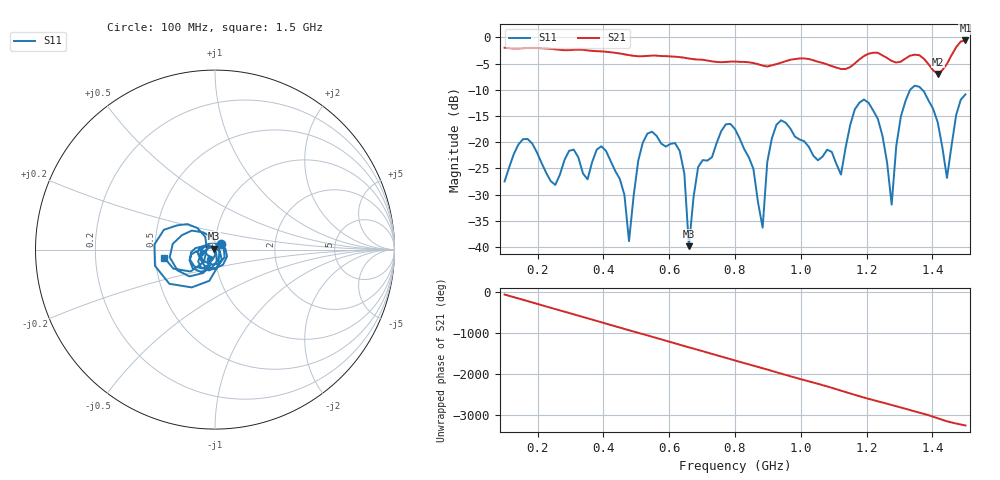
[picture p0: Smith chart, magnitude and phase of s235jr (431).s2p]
! NanoVNA-App
! Date: 2025-09-25 15:07:31
! Start: 100MHz Stop: 1,5GHz Points: 101
! S-Parameter data: F S11 S21 S12 S22
# Hz S RI R 50
!  Frequency  S11_Real  S11_Imag  S21_Real  S21_Imag  S12_Real  S12_Imag  S22_Real  S22_Imag
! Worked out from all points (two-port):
!   101 points, 100 MHz to 1.5 GHz, reference 50 ohm
!   highest |S21| = -0.57 dB at 1.5 GHz (marker M1); lowest = -6.9 dB at 1.416 GHz (marker M2)
!   |S21| within 3 dB of the highest: start of sweep to 503 MHz; 521.8 MHz to 592 MHz (70.13 MHz wide, 12.6 % of centre) (the widest 2 of 5)
!   lowest |S11| = -39.8 dB at 660 MHz (marker M3), VSWR 1.02, Z = 49.2 + j0.594 ohm
!   |S11| at or under -10 dB: start of sweep to 1.332 GHz; 1.369 GHz to end of sweep
!   S12 and S22 are empty: the file has one direction only
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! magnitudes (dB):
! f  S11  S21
! 100 MHz  -27.5  -2.0
! 156 MHz  -19.4  -2.0
! 338 MHz  -25.9  -2.4
! 408 MHz  -21.6  -2.7
! 478 MHz  -38.9  -3.4
! 520 MHz  -20.0  -3.6
! 576 MHz  -20.3  -3.5
! 632 MHz  -21.7  -3.7
! 660 MHz  -39.8  -4.0
! 688 MHz  -24.7  -4.2
! 800 MHz  -17.5  -4.6
! 884 MHz  -36.3  -5.4
! 926 MHz  -16.6  -5.1
! 1.038 GHz  -22.6  -4.3
! 1.122 GHz  -26.2  -6.0
! 1.192 GHz  -11.8  -3.5
! 1.248 GHz  -18.7  -3.4
! 1.276 GHz  -31.9  -4.5
! 1.332 GHz  -10.0  -3.5
! 1.416 GHz  -16.2  -6.9
! 1.444 GHz  -26.8  -5.0
! 1.5 GHz  -10.9  -0.6
